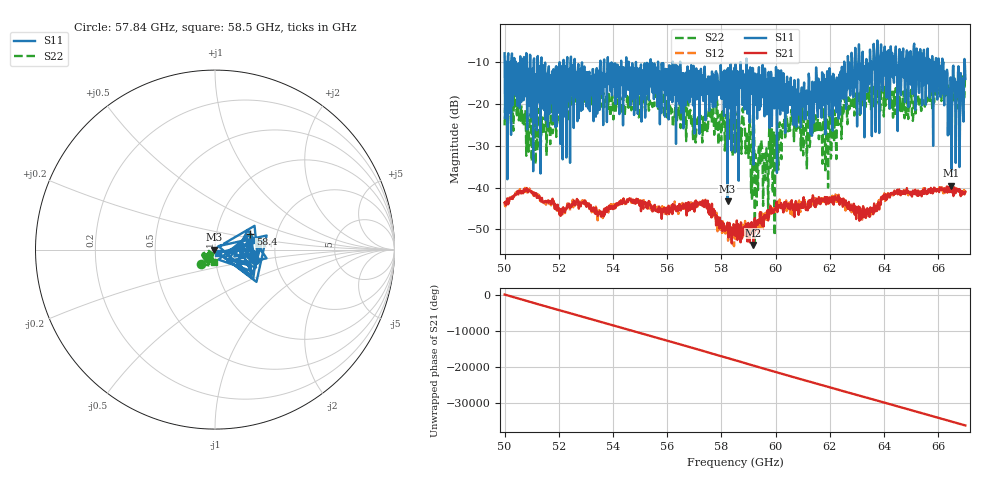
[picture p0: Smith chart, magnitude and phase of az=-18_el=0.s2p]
!Created with skrf (http://scikit-rf.org).
# GHz S RI R 50.0
!freq ReS11 ImS11 ReS21 ImS21 ReS12 ImS12 ReS22 ImS22
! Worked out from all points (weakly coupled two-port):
!   1001 points, 50 GHz to 67 GHz, reference 50 ohm
!   highest |S21| = -39.54 dB at 66.46 GHz (marker M1); lowest = -53.7 dB at 59.18 GHz (marker M2)
!   lowest |S11| = -43.3 dB at 58.23 GHz (marker M3), VSWR 1.01, Z = 49.3 + j0.0191 ohm
!   |S11| at or under -10 dB: 52.59 GHz to 53.53 GHz (947.5 MHz wide, 1.79 % of centre); 56.48 GHz to 58.92 GHz (2.446 GHz wide, 4.24 % of centre); 58.93 GHz to 62.53 GHz (3.599 GHz wide, 5.93 % of centre) (the widest 3 of 65)
!   |S22| runs from -52.9 to -13.3 dB; largest |S21 - S12| = 0.0022
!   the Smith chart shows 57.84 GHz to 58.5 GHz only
!   S11 on the Smith chart (normalised r, x): 57.84 GHz: 1.56, -0.19; 58.4 GHz: 1.46, +0.26; 58.5 GHz: 1.03, -0.04
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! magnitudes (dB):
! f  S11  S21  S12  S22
! 50 GHz  -7.9  -43.6  -43.4  -25.2
! 50.15 GHz  -22.3  -43.2  -43.5  -21.1
! 51.07 GHz  -9.6  -41.1  -41.5  -26.3
! 52.84 GHz  -11.5  -43.6  -43.9  -20.0
! 55.68 GHz  -13.4  -45.9  -45.5  -21.2
! 57.41 GHz  -24.0  -42.9  -44.2  -21.1
! 57.84 GHz  -12.8  -48.0  -47.0  -19.0
! 58.23 GHz  -43.3  -48.3  -50.8  -23.0
! 58.4 GHz  -13.4  -50.3  -51.3  -26.1
! 58.5 GHz  -31.7  -48.9  -50.1  -23.5
! 58.86 GHz  -21.4  -50.6  -49.3  -24.8
! 59.18 GHz  -34.5  -53.7  -51.6  -21.8
! 59.64 GHz  -17.8  -47.2  -46.0  -31.6
! 60.64 GHz  -16.0  -45.3  -44.1  -22.2
! 61.34 GHz  -27.6  -43.0  -43.2  -26.6
! 62 GHz  -12.4  -42.3  -43.4  -24.0
! 62.55 GHz  -11.3  -43.9  -44.0  -18.5
! 64.18 GHz  -11.6  -41.8  -41.6  -17.3
! 66.1 GHz  -14.7  -40.5  -40.7  -18.5
! 66.46 GHz  -13.7  -39.5  -40.7  -17.4
! 66.86 GHz  -18.5  -40.9  -41.1  -16.4
! 67 GHz  -14.0  -41.0  -42.1  -14.4
